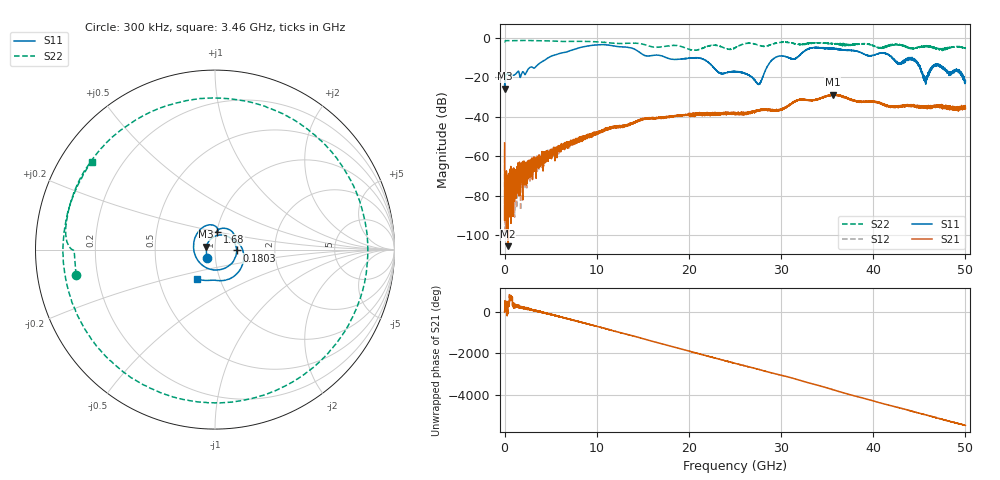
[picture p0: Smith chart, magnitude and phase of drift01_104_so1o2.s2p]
!Created with skrf (http://scikit-rf.org).
# Hz S RI R 50.0
!freq ReS11 ImS11 ReS21 ImS21 ReS12 ImS12 ReS22 ImS22
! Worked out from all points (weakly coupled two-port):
!   10001 points, 300 kHz to 50 GHz, reference 50 ohm
!   highest |S21| = -28.75 dB at 35.59 GHz (marker M1); lowest = -105.6 dB at 345.3 MHz (marker M2)
!   lowest |S11| = -25.8 dB at 5.3 MHz (marker M3), VSWR 1.11, Z = 45.3 + j1.4 ohm
!   |S11| at or under -10 dB: start of sweep to 4.768 GHz; 17.52 GHz to 29.37 GHz (11.85 GHz wide, 50.5 % of centre); 44.2 GHz to end of sweep (the widest 3 of 16)
!   |S22| runs from -6.5 to -1.4 dB; largest |S21 - S12| = 0.0039
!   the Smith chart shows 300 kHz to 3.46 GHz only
!   S11 on the Smith chart (normalised r, x): 300 kHz: 0.91, -0.08; 180.3 MHz: 1.27, -0.01; 1.68 GHz: 1.01, +0.20; 3.46 GHz: 0.78, -0.26
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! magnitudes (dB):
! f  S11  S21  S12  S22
! 300 kHz  -23.7  -53.3  -56.5  -2.1
! 5.3 MHz  -25.8  -92.6  -85.0  -2.1
! 180.3 MHz  -18.4  -70.3  -81.8  -1.4
! 345.3 MHz  -18.4  -105.6  -72.2  -1.4
! 1.68 GHz  -20.1  -69.5  -71.6  -1.4
! 3.46 GHz  -14.3  -64.9  -62.4  -1.5
! 8.335 GHz  -4.8  -50.7  -51.1  -1.8
! 16.67 GHz  -8.8  -40.6  -40.6  -4.8
! 21.22 GHz  -10.3  -38.5  -38.4  -5.7
! 23.39 GHz  -17.9  -38.3  -38.2  -4.4
! 25 GHz  -17.1  -38.7  -38.6  -5.1
! 27.59 GHz  -23.5  -37.1  -36.9  -3.8
! 29.28 GHz  -10.3  -37.0  -36.8  -2.9
! 31.47 GHz  -10.7  -32.4  -32.4  -2.9
! 33.34 GHz  -5.1  -31.5  -31.6  -2.7
! 35.59 GHz  -5.4  -28.8  -28.9  -2.9
! 41.67 GHz  -8.7  -34.4  -34.5  -4.2
! 42.76 GHz  -13.2  -34.8  -35.0  -3.3
! 44.44 GHz  -11.2  -34.1  -34.9  -5.2
! 45.63 GHz  -20.7  -35.1  -34.9  -4.1
! 46.93 GHz  -13.6  -34.6  -34.5  -5.4
! 50 GHz  -21.8  -35.8  -34.8  -5.4
